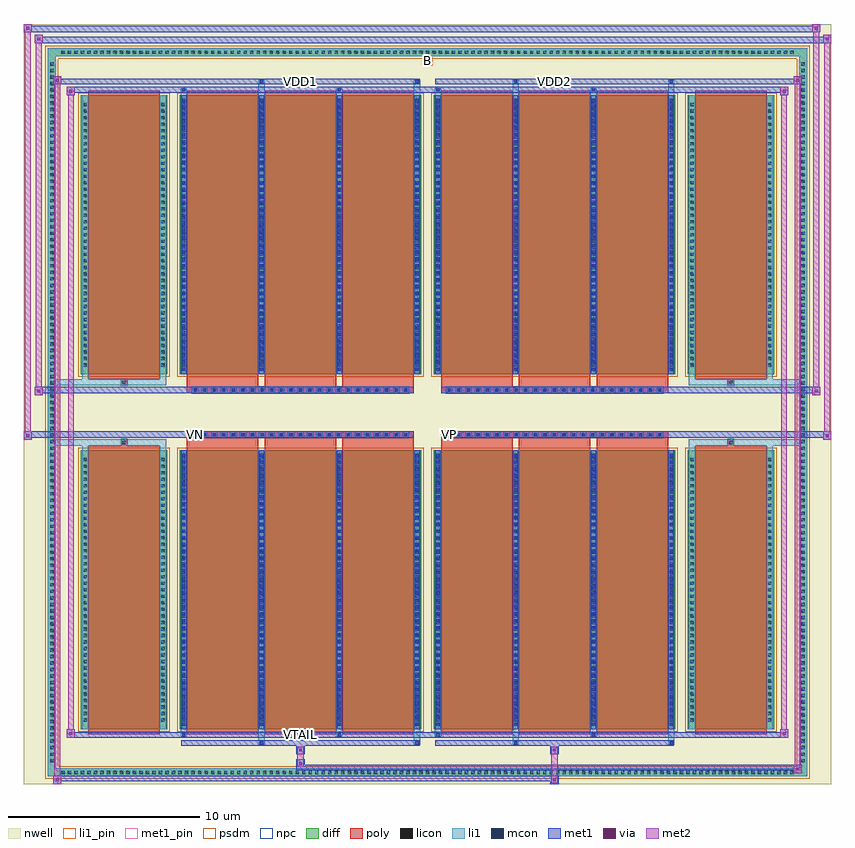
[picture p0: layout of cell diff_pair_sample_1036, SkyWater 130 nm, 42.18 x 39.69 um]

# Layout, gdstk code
import gdstk
lib = gdstk.Library(unit=1e-6, precision=5e-09)
def R(c, l, rs):  # rectangles x0, y0, x1, y1
    for r in rs: c.add(gdstk.rectangle(r[:2], r[2:], *l))
def A(c, l, x, y, w, h, nx, ny, dx, dy):  # array of equal rectangles
    R(c, l, [(x+i*dx, y+j*dy, x+i*dx+w, y+j*dy+h) for i in range(nx) for j in range(ny)])
def P(c, l, *ps):  # polygons
    for p in ps: c.add(gdstk.Polygon(p, *l))
nwell = (64, 20)
diff = (65, 20)
poly = (66, 20)
licon = (66, 44)
li1_pin = (67, 16)
li1 = (67, 20)
mcon = (67, 44)
met1_pin = (68, 16)
met1 = (68, 20)
via = (68, 44)
met2 = (69, 20)
psdm = (94, 20)
npc = (95, 20)

diff_pair_sample_1036 = lib.new_cell('diff_pair_sample_1036')
R(diff_pair_sample_1036, nwell, [(-21.09,-19.41,21.09,20.28), (-18.41,-17.6,-0.01,-0.8), (0.01,-17.6,18.41,-0.8), (-18.41,0.8,-0.01,17.6), (0.01,0.8,18.41,17.6)])
A(diff_pair_sample_1036, diff, -19.245, -19.01, 0.41, 0.41, 113, 2, 0.34, 37.61)
A(diff_pair_sample_1036, diff, -19.82, -18.395, 0.41, 0.41, 1, 108, 0, 0.34)
A(diff_pair_sample_1036, diff, 19.41, -18.395, 0.41, 0.41, 1, 108, 0, 0.34)
R(diff_pair_sample_1036, diff, [(-19.245,-19.01,19.245,-18.6), (-19.82,-18.395,-19.41,18.395), (19.41,-18.395,19.82,18.395), (-18.1,-16.555,-13.59,-1.985), (-12.95,-16.555,-0.32,-1.985), (0.32,-16.555,12.95,-1.985), (13.59,-16.555,18.1,-1.985), (-18.1,1.985,-13.59,16.555), (-12.95,1.985,-0.32,16.555), (0.32,1.985,12.95,16.555), (13.59,1.985,18.1,16.555), (-19.245,18.6,19.245,19.01)])
P(diff_pair_sample_1036, diff, [(19.82,19.01),(-19.82,19.01),(-19.82,-18.6),(-19.41,-18.6),(-19.41,18.6),(19.41,18.6),(19.41,-18.6),(-19.41,-18.6),(-19.82,-18.6),(-19.82,-19.01),(19.82,-19.01)])
A(diff_pair_sample_1036, poly, -12.56, -16.805, 3.73, 15.07, 3, 2, 4.06, 18.54)
A(diff_pair_sample_1036, poly, 0.71, -16.805, 3.73, 15.07, 3, 2, 4.06, 18.54)
A(diff_pair_sample_1036, poly, -12.56, -1.735, 3.73, 0.405, 3, 2, 4.06, 3.065)
A(diff_pair_sample_1036, poly, 0.71, -1.735, 3.73, 0.405, 3, 2, 4.06, 3.065)
A(diff_pair_sample_1036, poly, -12.3, -1.33, 0.33, 0.33, 23, 2, 0.5, 2.33)
A(diff_pair_sample_1036, poly, 0.97, -1.33, 0.33, 0.33, 23, 2, 0.5, 2.33)
R(diff_pair_sample_1036, poly, [(-17.71,-16.805,-13.98,-1.735), (13.98,-16.805,17.71,-1.735), (-16.01,-1.735,-15.68,-1.405), (-16.01,-1.735,-15.68,-1.405), (15.68,-1.735,16.01,-1.405), (15.68,-1.735,16.01,-1.405), (-12.56,-1.33,-0.71,-1), (0.71,-1.33,12.56,-1), (-12.56,1,-0.71,1.33), (0.71,1,12.56,1.33), (-16.01,1.405,-15.68,1.735), (-16.01,1.405,-15.68,1.735), (15.68,1.405,16.01,1.735), (15.68,1.405,16.01,1.735), (-17.71,1.735,-13.98,16.805), (13.98,1.735,17.71,16.805)])
A(diff_pair_sample_1036, licon, -19.125, -18.89, 0.17, 0.17, 113, 2, 0.34, 37.61)
A(diff_pair_sample_1036, licon, -19.7, -18.275, 0.17, 0.17, 1, 108, 0, 0.34)
A(diff_pair_sample_1036, licon, 19.53, -18.275, 0.17, 0.17, 1, 108, 0, 0.34)
A(diff_pair_sample_1036, licon, -17.96, -16.155, 0.17, 0.17, 1, 41, 0, 0.34)
A(diff_pair_sample_1036, licon, -13.9, -16.155, 0.17, 0.17, 1, 41, 0, 0.34)
A(diff_pair_sample_1036, licon, -12.81, -16.155, 0.17, 0.17, 4, 41, 4.06, 0.34)
A(diff_pair_sample_1036, licon, 0.46, -16.155, 0.17, 0.17, 4, 41, 4.06, 0.34)
A(diff_pair_sample_1036, licon, 13.73, -16.155, 0.17, 0.17, 1, 41, 0, 0.34)
A(diff_pair_sample_1036, licon, 17.79, -16.155, 0.17, 0.17, 1, 41, 0, 0.34)
A(diff_pair_sample_1036, licon, -12.22, -1.25, 0.17, 0.17, 23, 2, 0.5, 2.33)
A(diff_pair_sample_1036, licon, 1.05, -1.25, 0.17, 0.17, 23, 2, 0.5, 2.33)
A(diff_pair_sample_1036, licon, -17.96, 2.385, 0.17, 0.17, 1, 41, 0, 0.34)
A(diff_pair_sample_1036, licon, -13.9, 2.385, 0.17, 0.17, 1, 41, 0, 0.34)
A(diff_pair_sample_1036, licon, -12.81, 2.385, 0.17, 0.17, 4, 41, 4.06, 0.34)
A(diff_pair_sample_1036, licon, 0.46, 2.385, 0.17, 0.17, 4, 41, 4.06, 0.34)
A(diff_pair_sample_1036, licon, 13.73, 2.385, 0.17, 0.17, 1, 41, 0, 0.34)
A(diff_pair_sample_1036, licon, 17.79, 2.385, 0.17, 0.17, 1, 41, 0, 0.34)
R(diff_pair_sample_1036, licon, [(-15.93,-1.655,-15.76,-1.485), (15.76,-1.655,15.93,-1.485), (-15.93,1.485,-15.76,1.655), (15.76,1.485,15.93,1.655)])
R(diff_pair_sample_1036, li1_pin, [(-0.25,18.1,0.25,18.6)])
A(diff_pair_sample_1036, li1, -19.205, -18.97, 0.33, 0.33, 113, 2, 0.34, 37.61)
A(diff_pair_sample_1036, li1, -19.78, -18.355, 0.33, 0.33, 1, 108, 0, 0.34)
A(diff_pair_sample_1036, li1, 19.45, -18.355, 0.33, 0.33, 1, 108, 0, 0.34)
A(diff_pair_sample_1036, li1, -12.89, -16.555, 0.33, 14.57, 4, 2, 4.06, 18.54)
A(diff_pair_sample_1036, li1, 0.38, -16.555, 0.33, 14.57, 4, 2, 4.06, 18.54)
A(diff_pair_sample_1036, li1, -12.81, -16.375, 0.17, 0.17, 4, 40, 4.06, 0.36)
A(diff_pair_sample_1036, li1, -12.81, -16.375, 0.17, 14.21, 4, 2, 4.06, 18.54)
A(diff_pair_sample_1036, li1, 0.46, -16.375, 0.17, 0.17, 4, 40, 4.06, 0.36)
A(diff_pair_sample_1036, li1, 0.46, -16.375, 0.17, 14.21, 4, 2, 4.06, 18.54)
A(diff_pair_sample_1036, li1, -18.04, -16.235, 0.33, 0.33, 1, 41, 0, 0.34)
A(diff_pair_sample_1036, li1, -13.98, -16.235, 0.33, 0.33, 1, 41, 0, 0.34)
A(diff_pair_sample_1036, li1, -12.89, -16.235, 0.33, 0.33, 4, 41, 4.06, 0.34)
A(diff_pair_sample_1036, li1, 0.38, -16.235, 0.33, 0.33, 4, 41, 4.06, 0.34)
A(diff_pair_sample_1036, li1, 13.65, -16.235, 0.33, 0.33, 1, 41, 0, 0.34)
A(diff_pair_sample_1036, li1, 17.71, -16.235, 0.33, 0.33, 1, 41, 0, 0.34)
A(diff_pair_sample_1036, li1, -12.3, -1.33, 0.33, 0.33, 23, 2, 0.5, 2.33)
A(diff_pair_sample_1036, li1, 0.97, -1.33, 0.33, 0.33, 23, 2, 0.5, 2.33)
A(diff_pair_sample_1036, li1, -12.81, 2.165, 0.17, 0.17, 4, 40, 4.06, 0.36)
A(diff_pair_sample_1036, li1, 0.46, 2.165, 0.17, 0.17, 4, 40, 4.06, 0.36)
A(diff_pair_sample_1036, li1, -18.04, 2.305, 0.33, 0.33, 1, 41, 0, 0.34)
A(diff_pair_sample_1036, li1, -13.98, 2.305, 0.33, 0.33, 1, 41, 0, 0.34)
A(diff_pair_sample_1036, li1, -12.89, 2.305, 0.33, 0.33, 4, 41, 4.06, 0.34)
A(diff_pair_sample_1036, li1, 0.38, 2.305, 0.33, 0.33, 4, 41, 4.06, 0.34)
A(diff_pair_sample_1036, li1, 13.65, 2.305, 0.33, 0.33, 1, 41, 0, 0.34)
A(diff_pair_sample_1036, li1, 17.71, 2.305, 0.33, 0.33, 1, 41, 0, 0.34)
R(diff_pair_sample_1036, li1, [(-19.82,-19.01,-19.41,-18.6), (-19.82,-19.01,-19.41,-18.6), (-19.41,-19.01,19.41,-18.6), (19.41,-19.01,19.82,-18.6), (19.41,-19.01,19.82,-18.6), (-19.82,-18.6,-19.41,18.6), (19.41,-18.6,19.82,18.6), (-8.83,-17.36,-8.5,-16.555), (-8.75,-17.36,-8.58,-17.19), (-0.71,-17.36,-0.38,-16.555), (-0.63,-17.36,-0.46,-17.19), (4.44,-17.36,4.77,-16.555), (4.52,-17.36,4.69,-17.19), (12.56,-17.36,12.89,-16.555), (12.64,-17.36,12.81,-17.19), (-12.89,-16.93,-12.56,-16.555), (-12.81,-16.93,-12.64,-16.76), (-4.77,-16.93,-4.44,-16.555), (-4.69,-16.93,-4.52,-16.76), (0.38,-16.93,0.71,-16.555), (0.46,-16.93,0.63,-16.76), (8.5,-16.93,8.83,-16.555), (8.58,-16.93,8.75,-16.76), (-18.04,-16.555,-17.71,-1.985), (-13.98,-16.555,-13.65,-1.985), (13.65,-16.555,13.98,-1.985), (17.71,-16.555,18.04,-1.985), (-18.04,-1.985,-17.71,-1.405), (-13.98,-1.985,-13.65,-1.405), (13.65,-1.985,13.98,-1.405), (17.71,-1.985,18.04,-1.405), (-19.82,-1.735,-16.01,-1.405), (-18.04,-1.735,-16.01,-1.405), (-16.01,-1.735,-15.68,-1.405), (-15.68,-1.735,-13.65,-1.405), (13.65,-1.735,15.68,-1.405), (15.68,-1.735,16.01,-1.405), (15.68,-1.735,19.82,-1.405), (16.01,-1.735,18.04,-1.405), (-19.82,1.405,-16.01,1.735), (-18.04,1.405,-16.01,1.735), (-18.04,1.405,-17.71,1.985), (-16.01,1.405,-15.68,1.735), (-15.68,1.405,-13.65,1.735), (-13.98,1.405,-13.65,1.985), (13.65,1.405,15.68,1.735), (13.65,1.405,13.98,1.985), (15.68,1.405,16.01,1.735), (15.68,1.405,19.82,1.735), (16.01,1.405,18.04,1.735), (17.71,1.405,18.04,1.985), (-18.04,1.985,-17.71,16.555), (-13.98,1.985,-13.65,16.555), (13.65,1.985,13.98,16.555), (17.71,1.985,18.04,16.555), (-12.89,16.555,-12.56,16.93), (-8.83,16.555,-8.5,17.36), (-4.77,16.555,-4.44,16.93), (-0.71,16.555,-0.38,17.36), (0.38,16.555,0.71,16.93), (4.44,16.555,4.77,17.36), (8.5,16.555,8.83,16.93), (12.56,16.555,12.89,17.36), (-12.81,16.76,-12.64,16.93), (-4.69,16.76,-4.52,16.93), (0.46,16.76,0.63,16.93), (8.58,16.76,8.75,16.93), (-8.75,17.19,-8.58,17.36), (-0.63,17.19,-0.46,17.36), (4.52,17.19,4.69,17.36), (12.64,17.19,12.81,17.36), (-19.82,18.6,-19.41,19.01), (-19.82,18.6,-19.41,19.01), (-19.41,18.6,19.41,19.01), (19.41,18.6,19.82,19.01), (19.41,18.6,19.82,19.01)])
A(diff_pair_sample_1036, mcon, -12.81, -16.375, 0.17, 0.17, 4, 40, 4.06, 0.36)
A(diff_pair_sample_1036, mcon, 0.46, -16.375, 0.17, 0.17, 4, 40, 4.06, 0.36)
A(diff_pair_sample_1036, mcon, -12.22, -1.25, 0.17, 0.17, 23, 2, 0.5, 2.33)
A(diff_pair_sample_1036, mcon, 1.05, -1.25, 0.17, 0.17, 23, 2, 0.5, 2.33)
A(diff_pair_sample_1036, mcon, -12.81, 2.165, 0.17, 0.17, 4, 40, 4.06, 0.36)
A(diff_pair_sample_1036, mcon, 0.46, 2.165, 0.17, 0.17, 4, 40, 4.06, 0.36)
R(diff_pair_sample_1036, mcon, [(-8.75,-17.36,-8.58,-17.19), (-0.63,-17.36,-0.46,-17.19), (4.52,-17.36,4.69,-17.19), (12.64,-17.36,12.81,-17.19), (-12.81,-16.93,-12.64,-16.76), (-4.69,-16.93,-4.52,-16.76), (0.46,-16.93,0.63,-16.76), (8.58,-16.93,8.75,-16.76), (-12.81,16.76,-12.64,16.93), (-4.69,16.76,-4.52,16.93), (0.46,16.76,0.63,16.93), (8.58,16.76,8.75,16.93), (-8.75,17.19,-8.58,17.36), (-0.63,17.19,-0.46,17.36), (4.52,17.19,4.69,17.36), (12.64,17.19,12.81,17.36)])
R(diff_pair_sample_1036, met1_pin, [(-6.77,-16.97,-6.5,-16.7), (-12.27,-1.29,-12,-1.02), (1,-1.29,1.27,-1.02), (-6.77,17.15,-6.5,17.42), (6.5,17.15,6.77,17.42)])
A(diff_pair_sample_1036, met1, -12.87, -16.555, 0.29, 14.57, 4, 2, 4.06, 18.54)
A(diff_pair_sample_1036, met1, 0.4, -16.555, 0.29, 14.57, 4, 2, 4.06, 18.54)
A(diff_pair_sample_1036, met1, -12.87, -16.435, 0.29, 0.29, 4, 40, 4.06, 0.36)
A(diff_pair_sample_1036, met1, 0.4, -16.435, 0.29, 0.29, 4, 40, 4.06, 0.36)
A(diff_pair_sample_1036, met1, -12.28, -1.31, 0.29, 0.29, 23, 2, 0.5, 2.33)
A(diff_pair_sample_1036, met1, 0.99, -1.31, 0.29, 0.29, 23, 2, 0.5, 2.33)
A(diff_pair_sample_1036, met1, -12.87, 2.105, 0.29, 0.29, 4, 40, 4.06, 0.36)
A(diff_pair_sample_1036, met1, 0.4, 2.105, 0.29, 0.29, 4, 40, 4.06, 0.36)
R(diff_pair_sample_1036, met1, [(-19.55,-19.41,-19.12,-18.98), (6.42,-19.41,6.85,-18.98), (-19.55,-19.27,6.85,-18.98), (19.12,-18.84,19.55,-18.41), (-6.85,-18.7,19.55,-18.41), (-6.85,-18.56,-6.42,-18.13), (-6.85,-17.85,-6.42,-17.42), (6.42,-17.85,6.85,-17.42), (-12.87,-17.42,-0.4,-17.13), (-8.81,-17.42,-8.52,-17.13), (-0.69,-17.42,-0.4,-17.13), (0.4,-17.42,12.87,-17.13), (4.46,-17.42,4.75,-17.13), (12.58,-17.42,12.87,-17.13), (-18.84,-16.99,-18.41,-16.56), (-18.84,-16.99,-12.87,-16.7), (-12.87,-16.99,-12.58,-16.7), (-12.87,-16.99,-0.4,-16.7), (-4.75,-16.99,-4.46,-16.7), (-0.4,-16.99,0.4,-16.7), (0.4,-16.99,0.69,-16.7), (0.4,-16.99,12.87,-16.7), (8.52,-16.99,8.81,-16.7), (12.87,-16.99,18.84,-16.7), (18.41,-16.99,18.84,-16.56), (-21.09,-1.43,-20.66,-1), (20.66,-1.43,21.09,-1), (-21.09,-1.33,-0.71,-1), (-12.56,-1.33,-0.71,-1), (0.71,-1.33,12.56,-1), (0.71,-1.33,21.09,-1), (-20.52,0.9,-20.09,1.33), (20.09,0.9,20.52,1.33), (-20.52,1,-12.56,1.33), (-12.56,1,-0.71,1.33), (0.71,1,12.56,1.33), (12.56,1,20.52,1.33), (-18.84,16.56,-18.41,16.99), (18.41,16.56,18.84,16.99), (-18.84,16.7,-12.87,16.99), (-12.87,16.7,-12.58,16.99), (-12.87,16.7,-0.4,16.99), (-4.75,16.7,-4.46,16.99), (-0.4,16.7,0.4,16.99), (0.4,16.7,0.69,16.99), (0.4,16.7,12.87,16.99), (8.52,16.7,8.81,16.99), (12.87,16.7,18.84,16.99), (-19.55,17.13,-19.12,17.56), (-19.55,17.13,-12.87,17.42), (-12.87,17.13,-0.4,17.42), (-8.81,17.13,-8.52,17.42), (-0.69,17.13,-0.4,17.42), (0.4,17.13,12.87,17.42), (4.46,17.13,4.75,17.42), (12.58,17.13,12.87,17.42), (12.87,17.13,19.55,17.42), (19.12,17.13,19.55,17.56), (-20.52,19.28,-20.09,19.71), (-20.52,19.28,-18.41,19.61), (-18.41,19.28,18.41,19.61), (18.41,19.28,21.09,19.61), (20.66,19.28,21.09,19.71), (-21.09,19.85,-20.66,20.28), (-21.09,19.85,-18.41,20.18), (-18.41,19.85,18.41,20.18), (18.41,19.85,20.52,20.18), (20.09,19.85,20.52,20.28)])
R(diff_pair_sample_1036, via, [(-19.41,-19.27,-19.26,-19.12), (6.56,-19.27,6.71,-19.12), (19.26,-18.7,19.41,-18.55), (-6.71,-18.42,-6.56,-18.27), (-6.71,-17.71,-6.56,-17.56), (6.56,-17.71,6.71,-17.56), (-18.7,-16.85,-18.55,-16.7), (18.55,-16.85,18.7,-16.7), (-20.95,-1.29,-20.8,-1.14), (20.8,-1.29,20.95,-1.14), (-20.38,1.04,-20.23,1.19), (20.23,1.04,20.38,1.19), (-18.7,16.7,-18.55,16.85), (18.55,16.7,18.7,16.85), (-19.41,17.27,-19.26,17.42), (19.26,17.27,19.41,17.42), (-20.38,19.42,-20.23,19.57), (20.8,19.42,20.95,19.57), (-20.95,19.99,-20.8,20.14), (20.23,19.99,20.38,20.14)])
R(diff_pair_sample_1036, met2, [(-19.55,-19.41,-19.12,-18.98), (-19.48,-19.41,-19.19,17.56), (-19.19,-19.41,-19.12,-18.98), (-19.5,-19.36,-19.17,-19.03), (6.47,-19.36,6.8,-19.03), (6.47,-19.03,6.8,-17.8), (19.12,-18.84,19.55,-18.41), (19.19,-18.84,19.48,17.56), (19.48,-18.84,19.55,-18.41), (19.17,-18.79,19.5,-18.46), (-6.8,-18.51,-6.47,-18.18), (-6.8,-18.18,-6.47,-17.8), (-6.8,-17.8,-6.47,-17.47), (6.47,-17.8,6.8,-17.47), (-18.84,-16.99,-18.41,-16.56), (-18.77,-16.99,-18.48,16.99), (-18.48,-16.99,-18.41,-16.56), (18.41,-16.99,18.84,-16.56), (18.48,-16.99,18.77,16.99), (18.77,-16.99,18.84,-16.56), (-18.79,-16.94,-18.46,-16.61), (18.46,-16.94,18.79,-16.61), (-21.09,-1.43,-20.66,-1), (-21.04,-1.43,-20.71,20.28), (-20.71,-1.43,-20.66,-1), (20.66,-1.43,21.09,-1), (20.71,-1.43,21.04,19.71), (21.04,-1.43,21.09,-1), (-21.04,-1.38,-20.71,-1.05), (20.71,-1.38,21.04,-1.05), (-20.52,0.9,-20.09,1.33), (-20.47,0.9,-20.14,19.71), (-20.14,0.9,-20.09,1.33), (20.09,0.9,20.52,1.33), (20.14,0.9,20.47,20.28), (20.47,0.9,20.52,1.33), (-20.47,0.95,-20.14,1.28), (20.14,0.95,20.47,1.28), (-18.84,16.56,-18.41,16.99), (-18.48,16.56,-18.41,16.99), (18.41,16.56,18.84,16.99), (18.77,16.56,18.84,16.99), (-18.79,16.61,-18.46,16.94), (18.46,16.61,18.79,16.94), (-19.55,17.13,-19.12,17.56), (-19.19,17.13,-19.12,17.56), (19.12,17.13,19.55,17.56), (19.48,17.13,19.55,17.56), (-19.5,17.18,-19.17,17.51), (19.17,17.18,19.5,17.51), (-20.52,19.28,-20.09,19.71), (-20.14,19.28,-20.09,19.71), (20.66,19.28,21.09,19.71), (21.04,19.28,21.09,19.71), (-20.47,19.33,-20.14,19.66), (20.71,19.33,21.04,19.66), (-21.09,19.85,-20.66,20.28), (-20.71,19.85,-20.66,20.28), (20.09,19.85,20.52,20.28), (20.47,19.85,20.52,20.28), (-21.04,19.9,-20.71,20.23), (20.14,19.9,20.47,20.23)])
R(diff_pair_sample_1036, psdm, [(-18.23,-16.685,-13.46,-1.855), (-13.08,-16.685,-0.19,-1.855), (0.19,-16.685,13.08,-1.855), (13.46,-16.685,18.23,-1.855), (-18.23,1.855,-13.46,16.685), (-13.08,1.855,-0.19,16.685), (0.19,1.855,13.08,16.685), (13.46,1.855,18.23,16.685)])
P(diff_pair_sample_1036, psdm, [(19.95,19.14),(-19.95,19.14),(-19.95,-18.47),(-19.28,-18.47),(-19.28,18.47),(19.28,18.47),(19.28,-18.47),(-19.28,-18.47),(-19.95,-18.47),(-19.95,-19.14),(19.95,-19.14)])
A(diff_pair_sample_1036, npc, -12.32, -1.35, 0.37, 0.37, 23, 2, 0.5, 2.33)
A(diff_pair_sample_1036, npc, 0.95, -1.35, 0.37, 0.37, 23, 2, 0.5, 2.33)
R(diff_pair_sample_1036, npc, [(-16.03,-1.755,-15.66,-1.385), (15.66,-1.755,16.03,-1.385), (-12.32,-1.35,-11.45,-0.98), (-12.32,-1.35,-11.45,-0.98), (-11.82,-1.35,-10.95,-0.98), (-11.82,-1.35,-10.95,-0.98), (-11.32,-1.35,-10.45,-0.98), (-11.32,-1.35,-10.45,-0.98), (-10.82,-1.35,-9.95,-0.98), (-10.82,-1.35,-9.95,-0.98), (-10.32,-1.35,-9.45,-0.98), (-10.32,-1.35,-9.45,-0.98), (-9.82,-1.35,-8.95,-0.98), (-9.82,-1.35,-8.95,-0.98), (-9.32,-1.35,-8.45,-0.98), (-9.32,-1.35,-8.45,-0.98), (-8.82,-1.35,-7.95,-0.98), (-8.82,-1.35,-7.95,-0.98), (-8.32,-1.35,-7.45,-0.98), (-8.32,-1.35,-7.45,-0.98), (-7.82,-1.35,-6.95,-0.98), (-7.82,-1.35,-6.95,-0.98), (-7.32,-1.35,-6.45,-0.98), (-7.32,-1.35,-6.45,-0.98), (-6.82,-1.35,-5.95,-0.98), (-6.82,-1.35,-5.95,-0.98), (-6.32,-1.35,-5.45,-0.98), (-6.32,-1.35,-5.45,-0.98), (-5.82,-1.35,-4.95,-0.98), (-5.82,-1.35,-4.95,-0.98), (-5.32,-1.35,-4.45,-0.98), (-5.32,-1.35,-4.45,-0.98), (-4.82,-1.35,-3.95,-0.98), (-4.82,-1.35,-3.95,-0.98), (-4.32,-1.35,-3.45,-0.98), (-4.32,-1.35,-3.45,-0.98), (-3.82,-1.35,-2.95,-0.98), (-3.82,-1.35,-2.95,-0.98), (-3.32,-1.35,-2.45,-0.98), (-3.32,-1.35,-2.45,-0.98), (-2.82,-1.35,-1.95,-0.98), (-2.82,-1.35,-1.95,-0.98), (-2.32,-1.35,-1.45,-0.98), (-2.32,-1.35,-1.45,-0.98), (-1.82,-1.35,-0.95,-0.98), (-1.82,-1.35,-0.95,-0.98), (0.95,-1.35,1.82,-0.98), (0.95,-1.35,1.82,-0.98), (1.45,-1.35,2.32,-0.98), (1.45,-1.35,2.32,-0.98), (1.95,-1.35,2.82,-0.98), (1.95,-1.35,2.82,-0.98), (2.45,-1.35,3.32,-0.98), (2.45,-1.35,3.32,-0.98), (2.95,-1.35,3.82,-0.98), (2.95,-1.35,3.82,-0.98), (3.45,-1.35,4.32,-0.98), (3.45,-1.35,4.32,-0.98), (3.95,-1.35,4.82,-0.98), (3.95,-1.35,4.82,-0.98), (4.45,-1.35,5.32,-0.98), (4.45,-1.35,5.32,-0.98), (4.95,-1.35,5.82,-0.98), (4.95,-1.35,5.82,-0.98), (5.45,-1.35,6.32,-0.98), (5.45,-1.35,6.32,-0.98), (5.95,-1.35,6.82,-0.98), (5.95,-1.35,6.82,-0.98), (6.45,-1.35,7.32,-0.98), (6.45,-1.35,7.32,-0.98), (6.95,-1.35,7.82,-0.98), (6.95,-1.35,7.82,-0.98), (7.45,-1.35,8.32,-0.98), (7.45,-1.35,8.32,-0.98), (7.95,-1.35,8.82,-0.98), (7.95,-1.35,8.82,-0.98), (8.45,-1.35,9.32,-0.98), (8.45,-1.35,9.32,-0.98), (8.95,-1.35,9.82,-0.98), (8.95,-1.35,9.82,-0.98), (9.45,-1.35,10.32,-0.98), (9.45,-1.35,10.32,-0.98), (9.95,-1.35,10.82,-0.98), (9.95,-1.35,10.82,-0.98), (10.45,-1.35,11.32,-0.98), (10.45,-1.35,11.32,-0.98), (10.95,-1.35,11.82,-0.98), (10.95,-1.35,11.82,-0.98), (11.45,-1.35,12.32,-0.98), (11.45,-1.35,12.32,-0.98), (-12.32,0.98,-11.45,1.35), (-12.32,0.98,-11.45,1.35), (-11.82,0.98,-10.95,1.35), (-11.82,0.98,-10.95,1.35), (-11.32,0.98,-10.45,1.35), (-11.32,0.98,-10.45,1.35), (-10.82,0.98,-9.95,1.35), (-10.82,0.98,-9.95,1.35), (-10.32,0.98,-9.45,1.35), (-10.32,0.98,-9.45,1.35), (-9.82,0.98,-8.95,1.35), (-9.82,0.98,-8.95,1.35), (-9.32,0.98,-8.45,1.35), (-9.32,0.98,-8.45,1.35), (-8.82,0.98,-7.95,1.35), (-8.82,0.98,-7.95,1.35), (-8.32,0.98,-7.45,1.35), (-8.32,0.98,-7.45,1.35), (-7.82,0.98,-6.95,1.35), (-7.82,0.98,-6.95,1.35), (-7.32,0.98,-6.45,1.35), (-7.32,0.98,-6.45,1.35), (-6.82,0.98,-5.95,1.35), (-6.82,0.98,-5.95,1.35), (-6.32,0.98,-5.45,1.35), (-6.32,0.98,-5.45,1.35), (-5.82,0.98,-4.95,1.35), (-5.82,0.98,-4.95,1.35), (-5.32,0.98,-4.45,1.35), (-5.32,0.98,-4.45,1.35), (-4.82,0.98,-3.95,1.35), (-4.82,0.98,-3.95,1.35), (-4.32,0.98,-3.45,1.35), (-4.32,0.98,-3.45,1.35), (-3.82,0.98,-2.95,1.35), (-3.82,0.98,-2.95,1.35), (-3.32,0.98,-2.45,1.35), (-3.32,0.98,-2.45,1.35), (-2.82,0.98,-1.95,1.35), (-2.82,0.98,-1.95,1.35), (-2.32,0.98,-1.45,1.35), (-2.32,0.98,-1.45,1.35), (-1.82,0.98,-0.95,1.35), (-1.82,0.98,-0.95,1.35), (0.95,0.98,1.82,1.35), (0.95,0.98,1.82,1.35), (1.45,0.98,2.32,1.35), (1.45,0.98,2.32,1.35), (1.95,0.98,2.82,1.35), (1.95,0.98,2.82,1.35), (2.45,0.98,3.32,1.35), (2.45,0.98,3.32,1.35), (2.95,0.98,3.82,1.35), (2.95,0.98,3.82,1.35), (3.45,0.98,4.32,1.35), (3.45,0.98,4.32,1.35), (3.95,0.98,4.82,1.35), (3.95,0.98,4.82,1.35), (4.45,0.98,5.32,1.35), (4.45,0.98,5.32,1.35), (4.95,0.98,5.82,1.35), (4.95,0.98,5.82,1.35), (5.45,0.98,6.32,1.35), (5.45,0.98,6.32,1.35), (5.95,0.98,6.82,1.35), (5.95,0.98,6.82,1.35), (6.45,0.98,7.32,1.35), (6.45,0.98,7.32,1.35), (6.95,0.98,7.82,1.35), (6.95,0.98,7.82,1.35), (7.45,0.98,8.32,1.35), (7.45,0.98,8.32,1.35), (7.95,0.98,8.82,1.35), (7.95,0.98,8.82,1.35), (8.45,0.98,9.32,1.35), (8.45,0.98,9.32,1.35), (8.95,0.98,9.82,1.35), (8.95,0.98,9.82,1.35), (9.45,0.98,10.32,1.35), (9.45,0.98,10.32,1.35), (9.95,0.98,10.82,1.35), (9.95,0.98,10.82,1.35), (10.45,0.98,11.32,1.35), (10.45,0.98,11.32,1.35), (10.95,0.98,11.82,1.35), (10.95,0.98,11.82,1.35), (11.45,0.98,12.32,1.35), (11.45,0.98,12.32,1.35), (-16.03,1.385,-15.66,1.755), (15.66,1.385,16.03,1.755)])
diff_pair_sample_1036.add(gdstk.Label('VTAIL', (-6.635,-16.835), layer=68, texttype=5))
diff_pair_sample_1036.add(gdstk.Label('VN', (-12.135,-1.155), layer=68, texttype=5))
diff_pair_sample_1036.add(gdstk.Label('VP', (1.135,-1.155), layer=68, texttype=5))
diff_pair_sample_1036.add(gdstk.Label('B', (0,18.35), layer=67, texttype=5))
diff_pair_sample_1036.add(gdstk.Label('VDD2', (6.635,17.285), layer=68, texttype=5))
diff_pair_sample_1036.add(gdstk.Label('VDD1', (-6.635,17.285), layer=68, texttype=5))

lib.write_gds('diff_pair_sample_1036.gds')
